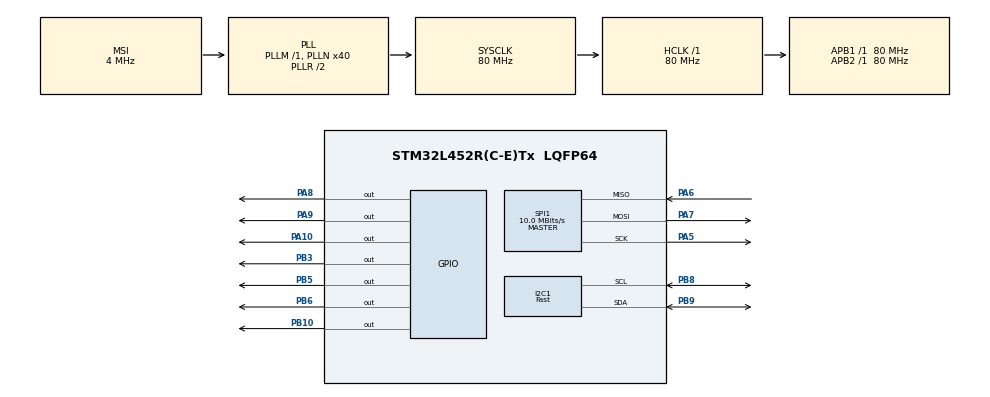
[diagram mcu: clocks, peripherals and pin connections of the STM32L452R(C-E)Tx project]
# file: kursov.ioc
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FREERTOS.Tasks01=defaultTask,24,128,StartDefaultTask,Default,NULL,Dynamic,NULL,NULL
FREERTOS.configTOTAL_HEAP_SIZE=50000
I2C1.I2C_Speed_Mode=I2C_Fast
I2C1.Timing=0x00F12981
Mcu.Family=STM32L4
Mcu.Name=STM32L452R(C-E)Tx
Mcu.Package=LQFP64
NVIC.PriorityGroup=NVIC_PRIORITYGROUP_4
NVIC.TIM1_UP_TIM16_IRQn=true\:15\:0\:false\:false\:true\:false\:false\:true\:true
NVIC.TIM2_IRQn=true\:5\:0\:false\:false\:true\:true\:true\:true\:true
NVIC.TimeBase=TIM1_UP_TIM16_IRQn
NVIC.TimeBaseIP=TIM1
PA10.GPIO_ModeDefaultOutputPP=GPIO_MODE_OUTPUT_OD
PA10.GPIO_PuPd=GPIO_NOPULL
PA10.Signal=GPIO_Output
PA5.Mode=Full_Duplex_Master
PA5.Signal=SPI1_SCK
PA6.Mode=Full_Duplex_Master
PA6.Signal=SPI1_MISO
PA7.Mode=Full_Duplex_Master
PA7.Signal=SPI1_MOSI
PA8.GPIO_ModeDefaultOutputPP=GPIO_MODE_OUTPUT_OD
PA8.GPIO_PuPd=GPIO_NOPULL
PA8.Signal=GPIO_Output
PA9.GPIO_ModeDefaultOutputPP=GPIO_MODE_OUTPUT_OD
PA9.GPIO_PuPd=GPIO_NOPULL
PA9.GPIO_Speed=GPIO_SPEED_FREQ_VERY_HIGH
PA9.Signal=GPIO_Output
PB10.Signal=GPIO_Output
PB3\ (JTDO/TRACESWO).Signal=GPIO_Output
PB5.Signal=GPIO_Output
PB6.GPIO_FM6=SYSCFG_FASTMODEPLUS_PB6
PB6.GPIO_PuPd=GPIO_PULLDOWN
PB6.Signal=GPIO_Output
PB8.Mode=I2C
PB8.Signal=I2C1_SCL
PB9.Mode=I2C
PB9.Signal=I2C1_SDA
PH0-OSC_IN\ (PH0).Mode=HSE-External-Clock-Source
PH0-OSC_IN\ (PH0).Signal=RCC_OSC_IN
ProjectManager.HeapSize=0x200
ProjectManager.StackSize=0x400
ProjectManager.TargetToolchain=STM32CubeIDE
RCC.AHBFreq_Value=80000000
RCC.APB1Freq_Value=80000000
RCC.APB1TimFreq_Value=80000000
RCC.APB2Freq_Value=80000000
RCC.APB2TimFreq_Value=80000000
RCC.CortexFreq_Value=80000000
RCC.HCLKFreq_Value=80000000
RCC.HSE_VALUE=8000000
RCC.HSI48_VALUE=48000000
RCC.HSI_VALUE=16000000
RCC.LSE_VALUE=32768
RCC.MSI_VALUE=4000000
RCC.PLLN=40
RCC.SYSCLKFreq_VALUE=80000000
RCC.SYSCLKSource=RCC_SYSCLKSOURCE_PLLCLK
RCC.VCOOutputFreq_Value=160000000
SPI1.BaudRatePrescaler=SPI_BAUDRATEPRESCALER_8
SPI1.CalculateBaudRate=10.0 MBits/s
SPI1.DataSize=SPI_DATASIZE_8BIT
SPI1.Direction=SPI_DIRECTION_2LINES
SPI1.Mode=SPI_MODE_MASTER
SPI1.VirtualType=VM_MASTER
STMicroelectronics.X-CUBE-TOUCHGFX.4.26.0.ApplicationCcGraphicsJjApplication=TouchGFXOoGenerator
STMicroelectronics.X-CUBE-TOUCHGFX.4.26.0.tgfx_block_size=10000
STMicroelectronics.X-CUBE-TOUCHGFX.4.26.0.tgfx_buffering_strategy=Partial
STMicroelectronics.X-CUBE-TOUCHGFX.4.26.0.tgfx_custom_height=240
STMicroelectronics.X-CUBE-TOUCHGFX.4.26.0.tgfx_custom_width=320
STMicroelectronics.X-CUBE-TOUCHGFX.4.26.0_IsPackSelfContextualization=true
TIM2.Prescaler=80-1
VP_CRC_VS_CRC.Mode=CRC_Activate
VP_FREERTOS_VS_CMSIS_V2.Mode=CMSIS_V2
VP_STMicroelectronics.X-CUBE-TOUCHGFX_VS_GraphicsJjApplication_4.26.0.Mode=GraphicsJjApplication
VP_SYS_VS_tim1.Mode=TIM1
VP_TIM2_VS_ClockSourceINT.Mode=Internal
board=custom

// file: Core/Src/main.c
/* USER CODE BEGIN Header */
/**
  ******************************************************************************
  * @file           : main.c
  * @brief          : Main program body
  ******************************************************************************
  * @attention
  *
  * Copyright (c) 2025 STMicroelectronics.
  * All rights reserved.
  *
  * This software is licensed under terms that can be found in the LICENSE file
  * in the root directory of this software component.
  * If no LICENSE file comes with this software, it is provided AS-IS.
  *
  ******************************************************************************
  */
/* USER CODE END Header */
#include "main.h"
#include "cmsis_os.h"
#include "crc.h"
#include "i2c.h"
#include "spi.h"
#include "tim.h"
#include "gpio.h"
#include "app_touchgfx.h"

/* USER CODE BEGIN Includes */
#include "ili9341.h"
#include "ft6336.h"
#include "ds18b20.h"
#include "FreeRTOS.h"
#include "queue.h"

/* USER CODE END Includes */

/* USER CODE BEGIN PV */
ds18b20_t ds18;

// Структура для передачи температуры через очередь
typedef struct {
    int16_t temp_cold;  // Температура в холодной зоне (в сотых градуса, например 1025 = 10.25°C)
    int16_t temp_warm;  // Температура в теплой зоне
} temp_data_t;

// Очередь для передачи температуры в TouchGFX (FreeRTOS очередь)
QueueHandle_t tempQueueHandle;

// Последние корректные значения температуры (для защиты от аномальных значений)
static temp_data_t last_valid_temp = {0, 0};

// Границы допустимых значений температуры (в сотых градуса)
// DS18B20 диапазон: -55°C до +125°C, используем более узкий диапазон для практических применений
#define TEMP_MIN_CENTIDEGREES  (-5000)  // -50.00°C
#define TEMP_MAX_CENTIDEGREES  (10000)  // +100.00°C

// Защита от зависания и отваливания датчиков
#define TEMP_VALID_DATA_TIMEOUT_MS    (30000)  // 30 секунд без валидных данных - переинициализация
#define TEMP_REINIT_MAX_ATTEMPTS      (3)      // Максимум попыток переинициализации

static uint32_t last_valid_data_time = 0;      // Время последнего успешного чтения
static uint32_t last_reinit_time = 0;          // Время последней переинициализации
static uint8_t reinit_attempts = 0;            // Счетчик попыток переинициализации

/* USER CODE END PV */

void SystemClock_Config(void);
void MX_FREERTOS_Init(void);
/* USER CODE BEGIN PFP */

void TouchGFX_Task_custom(void *argument);
void StartDisplayTask(void *argument);
void VSyncTask(void *argument);
void TouchTask(void *argument);
void Temp_Task(void *argument);
void TempControl_Task(void *argument);

/* USER CODE END PFP */

int main(void)
{

  /* MCU Configuration--------------------------------------------------------*/

  /* Reset of all peripherals, Initializes the Flash interface and the Systick. */
  HAL_Init();

  /* Configure the system clock */
  SystemClock_Config();

  /* Initialize all configured peripherals */
  MX_GPIO_Init();
  MX_SPI1_Init();
  MX_CRC_Init();
  MX_I2C1_Init();
  MX_TIM2_Init();
  MX_TouchGFX_Init();
  /* Call PreOsInit function */
  MX_TouchGFX_PreOSInit();
  /* USER CODE BEGIN 2 */

  // Инициализация FT6336 тачскрина (до запуска RTOS)

  osThreadId_t ds1820bTaskHandle;
  osThreadId_t displayTaskHandle;
  osThreadId_t touchgfxTaskHandle;
  osThreadId_t vsyncTaskHandle;
  osThreadId_t touchTaskHandle;
  osThreadId_t tempControlTaskHandle;

  const osThreadAttr_t ds1820bTask_attributes = {
        .name = "ds1820bTask",
        .stack_size = 512 * 4,
        .priority = (osPriority_t) osPriorityNormal,
    };

  const osThreadAttr_t displayTask_attributes = {
      .name = "displayTask",
      .stack_size = 512 * 4,
      .priority = (osPriority_t) osPriorityNormal,
  };

  const osThreadAttr_t touchgfxTask_attributes = {
    .name = "TouchGFX",
    .stack_size = 512 * 4,      // увеличенный стек для TouchGFX
    .priority = (osPriority_t) osPriorityHigh
  };

  const osThreadAttr_t vsyncTask_attributes = {
    .name = "VSyncTask",
    .stack_size = 512 * 4,
    .priority = (osPriority_t) osPriorityAboveNormal
  };

  const osThreadAttr_t touchTask_attributes = {
    .name = "TouchTask",
    .stack_size = 256 * 4,
    .priority = (osPriority_t) osPriorityNormal
  };

  const osThreadAttr_t tempControlTask_attributes = {
    .name = "TempControlTask",
    .stack_size = 256 * 4,
    .priority = (osPriority_t) osPriorityNormal
  };

  touchgfxTaskHandle = osThreadNew(TouchGFX_Task_custom, NULL, &touchgfxTask_attributes);

  /* Периодический VSYNC в отдельном потоке (для тестов, без использования таймеров) */
  vsyncTaskHandle = osThreadNew(VSyncTask, NULL, &vsyncTask_attributes);

  /* Задача опроса тачскрина каждые 10 мс */
  touchTaskHandle = osThreadNew(TouchTask, NULL, &touchTask_attributes);

  // Создаем FreeRTOS очередь для передачи температуры (размер 5 элементов)
  tempQueueHandle = xQueueCreate(5, sizeof(temp_data_t));

  ds1820bTaskHandle = osThreadNew(Temp_Task, NULL, &touchTask_attributes);

  // Задача управления GPIO по температуре
  tempControlTaskHandle = osThreadNew(TempControl_Task, NULL, &tempControlTask_attributes);

  /* USER CODE END 2 */

  /* Init scheduler */
  osKernelInitialize();  /* Call init function for freertos objects (in cmsis_os2.c) */
  MX_FREERTOS_Init();

  /* Start scheduler */
  osKernelStart();

  /* We should never get here as control is now taken by the scheduler */

  /* Infinite loop */
  /* USER CODE BEGIN WHILE */

//  ILI9341_Init();
//  HAL_Delay (1000);
//  HAL_GPIO_WritePin(GPIOB, GPIO_PIN_6, GPIO_PIN_SET); // CS = HIGH
//

  while (1)
  {

//	    ILI9341_FillScreen(0xF81F);   // Фиолетовый
//	    HAL_Delay(500);
//	    ILI9341_FillScreen(0x001F);   // Синий
//	    HAL_Delay(500);
    /* USER CODE END WHILE */

  }
}

void SystemClock_Config(void)
{
  RCC_OscInitTypeDef RCC_OscInitStruct = {0};
  RCC_ClkInitTypeDef RCC_ClkInitStruct = {0};

  /** Configure the main internal regulator output voltage
  */
  if (HAL_PWREx_ControlVoltageScaling(PWR_REGULATOR_VOLTAGE_SCALE1) != HAL_OK)
  {
    Error_Handler();
  }

  /** Initializes the RCC Oscillators according to the specified parameters
  * in the RCC_OscInitTypeDef structure.
  */
  RCC_OscInitStruct.OscillatorType = RCC_OSCILLATORTYPE_MSI;
  RCC_OscInitStruct.MSIState = RCC_MSI_ON;
  RCC_OscInitStruct.MSICalibrationValue = 0;
  RCC_OscInitStruct.MSIClockRange = RCC_MSIRANGE_6;
  RCC_OscInitStruct.PLL.PLLState = RCC_PLL_ON;
  RCC_OscInitStruct.PLL.PLLSource = RCC_PLLSOURCE_MSI;
  RCC_OscInitStruct.PLL.PLLM = 1;
  RCC_OscInitStruct.PLL.PLLN = 40;
  RCC_OscInitStruct.PLL.PLLP = RCC_PLLP_DIV7;
  RCC_OscInitStruct.PLL.PLLQ = RCC_PLLQ_DIV2;
  RCC_OscInitStruct.PLL.PLLR = RCC_PLLR_DIV2;
  if (HAL_RCC_OscConfig(&RCC_OscInitStruct) != HAL_OK)
  {
    Error_Handler();
  }

  /** Initializes the CPU, AHB and APB buses clocks
  */
  RCC_ClkInitStruct.ClockType = RCC_CLOCKTYPE_HCLK|RCC_CLOCKTYPE_SYSCLK
                              |RCC_CLOCKTYPE_PCLK1|RCC_CLOCKTYPE_PCLK2;
  RCC_ClkInitStruct.SYSCLKSource = RCC_SYSCLKSOURCE_PLLCLK;
  RCC_ClkInitStruct.AHBCLKDivider = RCC_SYSCLK_DIV1;
  RCC_ClkInitStruct.APB1CLKDivider = RCC_HCLK_DIV1;
  RCC_ClkInitStruct.APB2CLKDivider = RCC_HCLK_DIV1;

  if (HAL_RCC_ClockConfig(&RCC_ClkInitStruct, FLASH_LATENCY_4) != HAL_OK)
  {
    Error_Handler();
  }
}

/* USER CODE BEGIN 4 */
#include <math.h>

void TouchGFX_Task_custom(void *argument)
{
    /* Поток TouchGFX: внутри MX_TouchGFX_Process() вызывается touchgfx_taskEntry(),
     * который содержит свой собственный бесконечный цикл. Вызывать его в for(;;)
     * нельзя — достаточно одного вызова.
     */
    (void)argument;
    MX_TouchGFX_Process();  // не возвращает управление
}

void ds18_tim_cb(TIM_HandleTypeDef *htim)
{
    ow_callback(&ds18.ow);
}

// Функция переинициализации датчиков
static void reinit_ds18b20_sensors(void)
{
    ow_init_t ow_init_struct;
    ow_init_struct.tim_handle = &htim2;
    ow_init_struct.gpio = GPIOA;
    ow_init_struct.pin = GPIO_PIN_9;
    ow_init_struct.tim_cb = ds18_tim_cb;
    ow_init_struct.done_cb = NULL;   // Optional
    ow_init_struct.rom_id_filter = DS18B20_ID;

    ds18b20_init(&ds18, &ow_init_struct);

    // Update ROM IDs for all devices
    ds18b20_update_rom_id(&ds18);
    while(ds18b20_is_busy(&ds18));

    // Configure alarm thresholds and resolution
    ds18b20_config_t ds18_conf = {
        .alarm_high = 50,
        .alarm_low = -50,
        .cnv_bit = DS18B20_CNV_BIT_12
    };
    ds18b20_conf(&ds18, &ds18_conf);
    while(ds18b20_is_busy(&ds18));
}

void Temp_Task(void *argument)
{
    (void)argument;
    ow_init_t ow_init_struct;
    ow_init_struct.tim_handle = &htim2;
    ow_init_struct.gpio = GPIOA;
    ow_init_struct.pin = GPIO_PIN_9;
    ow_init_struct.tim_cb = ds18_tim_cb;
    ow_init_struct.done_cb = NULL;   // Optional
    ow_init_struct.rom_id_filter = DS18B20_ID;

    ds18b20_init(&ds18, &ow_init_struct);

    // Update ROM IDs for all devices
    ds18b20_update_rom_id(&ds18);
    while(ds18b20_is_busy(&ds18));

    // Configure alarm thresholds and resolution
    ds18b20_config_t ds18_conf = {
        .alarm_high = 50,
        .alarm_low = -50,
        .cnv_bit = DS18B20_CNV_BIT_12
    };
    ds18b20_conf(&ds18, &ds18_conf);
    while(ds18b20_is_busy(&ds18));

    // Инициализируем время последнего успешного чтения
    last_valid_data_time = HAL_GetTick();
    last_reinit_time = HAL_GetTick();
    reinit_attempts = 0;

    temp_data_t temp_data;
    uint32_t current_time;
    uint32_t time_since_valid_data;
    uint8_t both_valid = 0;

    for (;;)
    {
        current_time = HAL_GetTick();

        // Запускаем конвертацию температуры на всех датчиках
    	ds18b20_cnv(&ds18);
    	while(ds18b20_is_busy(&ds18));
    	while(!ds18b20_is_cnv_done(&ds18));

        // Читаем температуру с первого датчика (холодная зона, индекс 0)
    	ds18b20_req_read(&ds18, 0);
    	while(ds18b20_is_busy(&ds18));
    	temp_data.temp_cold = ds18b20_read_c(&ds18);
    	osDelay(10);
        // Читаем температуру со второго датчика (теплая зона, индекс 1)
    	ds18b20_req_read(&ds18, 1);
    	while(ds18b20_is_busy(&ds18));
    	temp_data.temp_warm = ds18b20_read_c(&ds18);

        // Защита от аномальных значений
        both_valid = 1;

        // Проверяем диапазон для холодной зоны
        if (temp_data.temp_cold < TEMP_MIN_CENTIDEGREES || temp_data.temp_cold > TEMP_MAX_CENTIDEGREES) {
            // Используем последнее корректное значение
            temp_data.temp_cold = last_valid_temp.temp_cold;
            both_valid = 0;  // Данные невалидны
        } else {
            // Сохраняем корректное значение
            last_valid_temp.temp_cold = temp_data.temp_cold;
        }

        // Проверяем диапазон для теплой зоны
        if (temp_data.temp_warm < TEMP_MIN_CENTIDEGREES || temp_data.temp_warm > TEMP_MAX_CENTIDEGREES) {
            // Используем последнее корректное значение
            temp_data.temp_warm = last_valid_temp.temp_warm;
            both_valid = 0;  // Данные невалидны
        } else {
            // Сохраняем корректное значение
            last_valid_temp.temp_warm = temp_data.temp_warm;
        }

        // Если оба значения валидны, обновляем время последнего успешного чтения
        if (both_valid) {
            last_valid_data_time = current_time;
            reinit_attempts = 0;  // Сбрасываем счетчик попыток при успешном чтении
        }

        // Проверяем, не прошло ли слишком много времени без валидных данных
        time_since_valid_data = current_time - last_valid_data_time;

        if (time_since_valid_data > TEMP_VALID_DATA_TIMEOUT_MS) {
            // Долгое время нет валидных данных - переинициализируем датчики
            reinit_attempts++;
            last_reinit_time = current_time;
            reinit_ds18b20_sensors();

            // Если переинициализация не помогла после нескольких попыток - перезапускаем задачу
            if (reinit_attempts >= TEMP_REINIT_MAX_ATTEMPTS) {
                // Сбрасываем все счетчики и переинициализируем задачу
                last_valid_data_time = current_time;
                last_reinit_time = current_time;
                reinit_attempts = 0;

                // Переинициализируем датчики еще раз
                reinit_ds18b20_sensors();

                // Небольшая задержка перед продолжением работы
                osDelay(1000);
            }
        }

        // Отправляем данные в FreeRTOS очередь для TouchGFX
        // Используем xQueueSend с таймаутом 0 (неблокирующий)
        xQueueSend(tempQueueHandle, &temp_data, 0);

        osDelay(1000);
    }
}

// Функция для получения температуры из FreeRTOS очереди (для использования в C++)
// Возвращает pdTRUE (1) при успехе, pdFALSE (0) при ошибке
BaseType_t getTemperatureFromQueue(temp_data_t *data)
{
    if (tempQueueHandle != NULL) {
        return xQueueReceive(tempQueueHandle, data, 0);  // Таймаут 0 = неблокирующий
    }
    return pdFALSE;
}

// Функция toggle для PB10 (для использования в C++)
void togglePB10(void)
{
    HAL_GPIO_TogglePin(GPIOB, GPIO_PIN_10);
}

// Задача управления GPIO PA8 по температуре
// Если температура < 32°C, подтягивает PA8 к земле (GPIO_PIN_RESET)
// Если температура >= 32°C, отпускает PA8 (GPIO_PIN_SET для OPEN_DRAIN)
void TempControl_Task(void *argument)
{
    (void)argument;
    temp_data_t temp_data;
    const int16_t TEMP_THRESHOLD_CENTIDEGREES = 3200;  // 32.00°C в сотых градуса

    for (;;)
    {
        // Получаем данные температуры из очереди БЕЗ удаления (xQueuePeek)
        // Это позволяет TouchGFX также получить эти данные
        if (xQueuePeek(tempQueueHandle, &temp_data, pdMS_TO_TICKS(1000)) == pdTRUE)
        {
            // Проверяем температуру холодной зоны (можно использовать любую зону или обе)
            // Используем температуру холодной зоны для управления
            if (temp_data.temp_cold < TEMP_THRESHOLD_CENTIDEGREES)
            {
                // Температура ниже 32°C - подтягиваем PA8 к земле
                HAL_GPIO_WritePin(GPIOA, GPIO_PIN_8, GPIO_PIN_SET);
            }
            else
            {
                // Температура >= 32°C - отпускаем PA8 (для OPEN_DRAIN это HIGH)
                HAL_GPIO_WritePin(GPIOA, GPIO_PIN_8, GPIO_PIN_RESET);
            }
        }
        // Если данные не получены (таймаут), продолжаем цикл
    }
}

void VSyncTask(void *argument)
{
    (void)argument;

    /* Простой тестовый вариант: генерируем VSYNC из потока с периодом ~16 мс (~60 Гц) */
    extern void touchgfxSignalVSync(void);

    ILI9341_Init();
    //ILI9341_FillScreen(0xFFFF); // Черный

    HAL_GPIO_WritePin(GPIOA, GPIO_PIN_10, GPIO_PIN_SET);
    //osDelay(1000);
    ILI9341_InvertColors(1);
//    ILI9341_FillScreen(ILI9341_BLACK);
//    HAL_Delay(300);
//    ILI9341_FillScreen(ILI9341_WHITE);
//    HAL_Delay(300);
//    ILI9341_FillScreen(ILI9341_RED);
//    HAL_Delay(300);
//    ILI9341_FillScreen(ILI9341_GREEN);
//     HAL_Delay(300);
//    ILI9341_FillScreen(ILI9341_YELLOW);
//    HAL_Delay(300);
//    ILI9341_FillScreen(ILI9341_BLUE);

    for (;;)
    {
        touchgfxSignalVSync();
        osDelay(10);
    }
}

#define M_PI 3.14159265358979323846
float sine_function(float x, uint16_t amplitude, uint16_t phase_shift)
{
    // Нормализуем x к диапазону [0, 1]
    float normalized = x / 320.0f;

    // Преобразуем в фазу для полного цикла синуса [0, 2π]
    float phase = normalized * 5.0f * M_PI + (phase_shift/1);

    // Вычисляем синус (диапазон [-1, 1])
    float sine_value = (float)sin((double)phase);

    // Масштабируем к диапазону [0, 240]
    float result = (sine_value + 1.0f) * amplitude+(120 - amplitude);

    return result;
}

typedef struct {
    float y_top;
    float y_bottom;
} all_y_for_circle;

all_y_for_circle circle_function(float x, uint16_t a, uint16_t b, uint16_t r)
{
	all_y_for_circle points;

	 // Проверяем, находится ли x в пределах круга
	    if (x < a - r || x > a + r) {
	        points.y_top = NAN;
	        points.y_bottom = NAN;
	        return points;
	    }
    // Вычисляем y для верхней полуокружности
	 points.y_top = b + sqrt(r*r - (x-a)*(x-a));

    // Или для нижней полуокружности, в зависимости от вашей логики
	 points.y_bottom = b - sqrt(r*r - (-x+a)*(-x+a));

    return points;
}

/* USER CODE BEGIN TouchData */
// Глобальные переменные для передачи координат тача в TouchGFX
volatile uint16_t touch_x = 0;
volatile uint16_t touch_y = 0;
volatile uint8_t touch_pressed = 0;
/* USER CODE END TouchData */

/**
 * @brief Задача опроса тачскрина FT6336
 * @param argument Не используется
 * @retval None
 */
void TouchTask(void *argument)
{
    (void)argument;
    uint16_t x, y;
    uint8_t touch_status;

    // Небольшая задержка для инициализации системы
    osDelay(100);

    if (ft6336_init() != 0)
      {
          // Ошибка инициализации FT6336
          Error_Handler();
      }

    for (;;)
    {
        // Проверяем статус касания
        touch_status = ft6336_get_td_status();

        if (touch_status > 0)
        {
            // Есть касание - читаем координаты
            // Меняем местами X и Y, т.к. они перепутаны в чипе
            ft6336_get_touch1_position(&y, &x);

            // Сохраняем координаты в глобальные переменные для TouchGFX
            touch_x = x;
            touch_y = y;
            touch_pressed = 1;

            // Очищаем флаг прерывания (если используется)
            ft6336_clear_interrupt();
        }
        else
        {
            // Нет касания
            touch_pressed = 0;
        }

        // Опрос каждые 10 мс (100 Гц)
        osDelay(10);
    }
}

void StartDisplayTask(void *argument)
{
    // Перед работой с дисплеем подождем инициализацию системы
    osDelay(100);

    // Инициализация дисплея

    char cmd = 0x04;
    char buf[2] = {0x00, 0x00};

    ILI9341_Init();
    ILI9341_FillScreen(0xFFFF); // Черный
    HAL_GPIO_WritePin(GPIOA, GPIO_PIN_10, GPIO_PIN_SET);
    uint16_t current_color = 0;
   	uint16_t x = 0;
   	uint16_t y = 0 , y2 = 0;
   	uint16_t a = 1;
   	uint16_t current_state = 1;
   	uint16_t phase = 0;
	uint16_t amplitude = 0;
    for(;;)
    {
    	if(x==320)
    	{
    		amplitude = amplitude + current_state;
    		phase = phase + 1;
    		x=0;
    		y=0;

    		current_color = 0x0000;
    		//ILI9341_DrawPixel(x, y, 0x0000);
    	}
    	if(amplitude==118){

    		current_state = -1;

    	}
    	if(amplitude==2){

    	    		current_state = 1;

    	    	}

//    	if(x==320 && current_state == 1)
//    	    	{
//    				//phase++;
//    	    		x=0;
//    	    		y=0;
//    	    		current_state = 0;
//    	    		current_color = 0xFFFF;
//    	    		//ILI9341_DrawPixel(x, y, 0x0000);
//    	    	}

    //	osDelay(10);

    	x++;

    	y=sine_function(x,amplitude,phase);
    	y2=sine_function(x,amplitude - current_state,phase - 1);
    	uint16_t a1 = 320/2;
    	uint16_t b1 = 240/2;
    	uint16_t r1 = 50;
    	uint16_t y3 = 0;

    	//y3=sine_function(x,amplitude - current_state-1,phase - 1);
    	//HAL_UART_Transmit (&huart2, "Current y: %u", y,100);

    	for (uint8_t i =0; i < a; i++){
        //ILI9341_DrawPixel(x, y2+i + a/2, 0xFFFF);
        //ILI9341_DrawPixel(x, y2+i - a/2, 0xFFFF);
        //ILI9341_DrawPixel(x, y2+i+1 - a/2, 0xFFFF);
    	//ILI9341_DrawPixel(x, y+i - a/2, 0x0000);
    		for (float x = a1 - r1; x <= a1 + r1; x += 1.0f) {
    		        // Получаем точки окружности для текущего X
    		        all_y_for_circle points = circle_function(x, a1, b1, r1);

    		            ILI9341_DrawPixel((uint16_t)round(x), (uint16_t)round(points.y_top)+ a/2, 0x0000);
    		            ILI9341_DrawPixel((uint16_t)round(x), (uint16_t)round(points.y_bottom)+ a/2, 0x0000);

    		        osDelay(5);

    		          //if (x > a1 + r1) {
    		          //ILI9341_DrawPixel((uint16_t)round(x), (uint16_t)round(points.y_top)+ a/2, 0xFFFF);
    		          //}

    		          //if (x > a1 - r1) {
    		          //LI9341_DrawPixel((uint16_t)round(x), (uint16_t)round(points.y_bottom)+ a/2, 0xFFFF);
    		          //}
    		    }
    	}
        //ILI9341_FillScreen(0xFFFF); // Черный
    }
}

/* USER CODE END 4 */

void HAL_TIM_PeriodElapsedCallback(TIM_HandleTypeDef *htim)
{
  if (htim->Instance == TIM1)
  {
    HAL_IncTick();
  }
}

void Error_Handler(void)
{
  __disable_irq();
  while (1)
  {
  }
}
